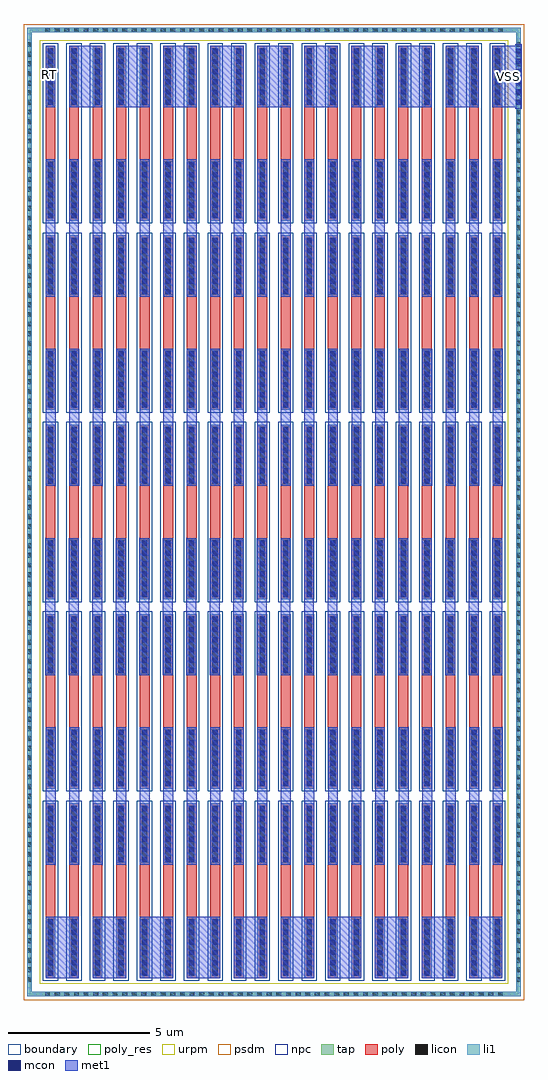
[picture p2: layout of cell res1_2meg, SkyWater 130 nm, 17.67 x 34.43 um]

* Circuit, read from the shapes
.subckt res1_2meg RT VSS
XR1 sky130_fd_pr__res_xhigh_po_0p35_2CUD6T_0/R1_0_0 sky130_fd_pr__res_xhigh_po_0p35_2CUD6T_0/R2_0_0 VSS sky130_fd_pr__res_xhigh_po w=0.35 l=1.88
XR2 sky130_fd_pr__res_xhigh_po_0p35_2CUD6T_0/R1_0_1 sky130_fd_pr__res_xhigh_po_0p35_2CUD6T_0/R1_0_0 VSS sky130_fd_pr__res_xhigh_po w=0.35 l=1.88
XR3 sky130_fd_pr__res_xhigh_po_0p35_2CUD6T_0/R1_0_2 sky130_fd_pr__res_xhigh_po_0p35_2CUD6T_0/R1_0_1 VSS sky130_fd_pr__res_xhigh_po w=0.35 l=1.88
XR4 sky130_fd_pr__res_xhigh_po_0p35_2CUD6T_0/R1_0_3 sky130_fd_pr__res_xhigh_po_0p35_2CUD6T_0/R1_0_2 VSS sky130_fd_pr__res_xhigh_po w=0.35 l=1.88
XR5 RT sky130_fd_pr__res_xhigh_po_0p35_2CUD6T_0/R1_0_3 VSS sky130_fd_pr__res_xhigh_po w=0.35 l=1.88
XR6 sky130_fd_pr__res_xhigh_po_0p35_2CUD6T_0/R1_1_0 sky130_fd_pr__res_xhigh_po_0p35_2CUD6T_0/R2_0_0 VSS sky130_fd_pr__res_xhigh_po w=0.35 l=1.88
XR7 sky130_fd_pr__res_xhigh_po_0p35_2CUD6T_0/R1_1_1 sky130_fd_pr__res_xhigh_po_0p35_2CUD6T_0/R1_1_0 VSS sky130_fd_pr__res_xhigh_po w=0.35 l=1.88
XR8 sky130_fd_pr__res_xhigh_po_0p35_2CUD6T_0/R1_1_2 sky130_fd_pr__res_xhigh_po_0p35_2CUD6T_0/R1_1_1 VSS sky130_fd_pr__res_xhigh_po w=0.35 l=1.88
XR9 sky130_fd_pr__res_xhigh_po_0p35_2CUD6T_0/R1_1_3 sky130_fd_pr__res_xhigh_po_0p35_2CUD6T_0/R1_1_2 VSS sky130_fd_pr__res_xhigh_po w=0.35 l=1.88
XR10 sky130_fd_pr__res_xhigh_po_0p35_2CUD6T_0/R1_1_4 sky130_fd_pr__res_xhigh_po_0p35_2CUD6T_0/R1_1_3 VSS sky130_fd_pr__res_xhigh_po w=0.35 l=1.88
XR11 sky130_fd_pr__res_xhigh_po_0p35_2CUD6T_0/R1_2_0 sky130_fd_pr__res_xhigh_po_0p35_2CUD6T_0/R2_2_0 VSS sky130_fd_pr__res_xhigh_po w=0.35 l=1.88
XR12 sky130_fd_pr__res_xhigh_po_0p35_2CUD6T_0/R1_2_1 sky130_fd_pr__res_xhigh_po_0p35_2CUD6T_0/R1_2_0 VSS sky130_fd_pr__res_xhigh_po w=0.35 l=1.88
XR13 sky130_fd_pr__res_xhigh_po_0p35_2CUD6T_0/R1_2_2 sky130_fd_pr__res_xhigh_po_0p35_2CUD6T_0/R1_2_1 VSS sky130_fd_pr__res_xhigh_po w=0.35 l=1.88
XR14 sky130_fd_pr__res_xhigh_po_0p35_2CUD6T_0/R1_2_3 sky130_fd_pr__res_xhigh_po_0p35_2CUD6T_0/R1_2_2 VSS sky130_fd_pr__res_xhigh_po w=0.35 l=1.88
XR15 sky130_fd_pr__res_xhigh_po_0p35_2CUD6T_0/R1_1_4 sky130_fd_pr__res_xhigh_po_0p35_2CUD6T_0/R1_2_3 VSS sky130_fd_pr__res_xhigh_po w=0.35 l=1.88
XR16 sky130_fd_pr__res_xhigh_po_0p35_2CUD6T_0/R1_3_0 sky130_fd_pr__res_xhigh_po_0p35_2CUD6T_0/R2_2_0 VSS sky130_fd_pr__res_xhigh_po w=0.35 l=1.88
XR17 sky130_fd_pr__res_xhigh_po_0p35_2CUD6T_0/R1_3_1 sky130_fd_pr__res_xhigh_po_0p35_2CUD6T_0/R1_3_0 VSS sky130_fd_pr__res_xhigh_po w=0.35 l=1.88
XR18 sky130_fd_pr__res_xhigh_po_0p35_2CUD6T_0/R1_3_2 sky130_fd_pr__res_xhigh_po_0p35_2CUD6T_0/R1_3_1 VSS sky130_fd_pr__res_xhigh_po w=0.35 l=1.88
XR19 sky130_fd_pr__res_xhigh_po_0p35_2CUD6T_0/R1_3_3 sky130_fd_pr__res_xhigh_po_0p35_2CUD6T_0/R1_3_2 VSS sky130_fd_pr__res_xhigh_po w=0.35 l=1.88
XR20 sky130_fd_pr__res_xhigh_po_0p35_2CUD6T_0/R1_3_4 sky130_fd_pr__res_xhigh_po_0p35_2CUD6T_0/R1_3_3 VSS sky130_fd_pr__res_xhigh_po w=0.35 l=1.88
XR21 sky130_fd_pr__res_xhigh_po_0p35_2CUD6T_0/R1_4_0 sky130_fd_pr__res_xhigh_po_0p35_2CUD6T_0/R2_4_0 VSS sky130_fd_pr__res_xhigh_po w=0.35 l=1.88
XR22 sky130_fd_pr__res_xhigh_po_0p35_2CUD6T_0/R1_4_1 sky130_fd_pr__res_xhigh_po_0p35_2CUD6T_0/R1_4_0 VSS sky130_fd_pr__res_xhigh_po w=0.35 l=1.88
XR23 sky130_fd_pr__res_xhigh_po_0p35_2CUD6T_0/R1_4_2 sky130_fd_pr__res_xhigh_po_0p35_2CUD6T_0/R1_4_1 VSS sky130_fd_pr__res_xhigh_po w=0.35 l=1.88
XR24 sky130_fd_pr__res_xhigh_po_0p35_2CUD6T_0/R1_4_3 sky130_fd_pr__res_xhigh_po_0p35_2CUD6T_0/R1_4_2 VSS sky130_fd_pr__res_xhigh_po w=0.35 l=1.88
XR25 sky130_fd_pr__res_xhigh_po_0p35_2CUD6T_0/R1_3_4 sky130_fd_pr__res_xhigh_po_0p35_2CUD6T_0/R1_4_3 VSS sky130_fd_pr__res_xhigh_po w=0.35 l=1.88
XR26 sky130_fd_pr__res_xhigh_po_0p35_2CUD6T_0/R1_5_0 sky130_fd_pr__res_xhigh_po_0p35_2CUD6T_0/R2_4_0 VSS sky130_fd_pr__res_xhigh_po w=0.35 l=1.88
XR27 sky130_fd_pr__res_xhigh_po_0p35_2CUD6T_0/R1_5_1 sky130_fd_pr__res_xhigh_po_0p35_2CUD6T_0/R1_5_0 VSS sky130_fd_pr__res_xhigh_po w=0.35 l=1.88
XR28 sky130_fd_pr__res_xhigh_po_0p35_2CUD6T_0/R1_5_2 sky130_fd_pr__res_xhigh_po_0p35_2CUD6T_0/R1_5_1 VSS sky130_fd_pr__res_xhigh_po w=0.35 l=1.88
XR29 sky130_fd_pr__res_xhigh_po_0p35_2CUD6T_0/R1_5_3 sky130_fd_pr__res_xhigh_po_0p35_2CUD6T_0/R1_5_2 VSS sky130_fd_pr__res_xhigh_po w=0.35 l=1.88
XR30 sky130_fd_pr__res_xhigh_po_0p35_2CUD6T_0/R1_5_4 sky130_fd_pr__res_xhigh_po_0p35_2CUD6T_0/R1_5_3 VSS sky130_fd_pr__res_xhigh_po w=0.35 l=1.88
XR31 sky130_fd_pr__res_xhigh_po_0p35_2CUD6T_0/R1_6_0 sky130_fd_pr__res_xhigh_po_0p35_2CUD6T_0/R2_6_0 VSS sky130_fd_pr__res_xhigh_po w=0.35 l=1.88
XR32 sky130_fd_pr__res_xhigh_po_0p35_2CUD6T_0/R1_6_1 sky130_fd_pr__res_xhigh_po_0p35_2CUD6T_0/R1_6_0 VSS sky130_fd_pr__res_xhigh_po w=0.35 l=1.88
XR33 sky130_fd_pr__res_xhigh_po_0p35_2CUD6T_0/R1_6_2 sky130_fd_pr__res_xhigh_po_0p35_2CUD6T_0/R1_6_1 VSS sky130_fd_pr__res_xhigh_po w=0.35 l=1.88
XR34 sky130_fd_pr__res_xhigh_po_0p35_2CUD6T_0/R1_6_3 sky130_fd_pr__res_xhigh_po_0p35_2CUD6T_0/R1_6_2 VSS sky130_fd_pr__res_xhigh_po w=0.35 l=1.88
XR35 sky130_fd_pr__res_xhigh_po_0p35_2CUD6T_0/R1_5_4 sky130_fd_pr__res_xhigh_po_0p35_2CUD6T_0/R1_6_3 VSS sky130_fd_pr__res_xhigh_po w=0.35 l=1.88
XR36 sky130_fd_pr__res_xhigh_po_0p35_2CUD6T_0/R1_7_0 sky130_fd_pr__res_xhigh_po_0p35_2CUD6T_0/R2_6_0 VSS sky130_fd_pr__res_xhigh_po w=0.35 l=1.88
XR37 sky130_fd_pr__res_xhigh_po_0p35_2CUD6T_0/R1_7_1 sky130_fd_pr__res_xhigh_po_0p35_2CUD6T_0/R1_7_0 VSS sky130_fd_pr__res_xhigh_po w=0.35 l=1.88
XR38 sky130_fd_pr__res_xhigh_po_0p35_2CUD6T_0/R1_7_2 sky130_fd_pr__res_xhigh_po_0p35_2CUD6T_0/R1_7_1 VSS sky130_fd_pr__res_xhigh_po w=0.35 l=1.88
XR39 sky130_fd_pr__res_xhigh_po_0p35_2CUD6T_0/R1_7_3 sky130_fd_pr__res_xhigh_po_0p35_2CUD6T_0/R1_7_2 VSS sky130_fd_pr__res_xhigh_po w=0.35 l=1.88
XR40 sky130_fd_pr__res_xhigh_po_0p35_2CUD6T_0/R1_7_4 sky130_fd_pr__res_xhigh_po_0p35_2CUD6T_0/R1_7_3 VSS sky130_fd_pr__res_xhigh_po w=0.35 l=1.88
XR41 sky130_fd_pr__res_xhigh_po_0p35_2CUD6T_0/R1_8_0 sky130_fd_pr__res_xhigh_po_0p35_2CUD6T_0/R2_8_0 VSS sky130_fd_pr__res_xhigh_po w=0.35 l=1.88
XR42 sky130_fd_pr__res_xhigh_po_0p35_2CUD6T_0/R1_8_1 sky130_fd_pr__res_xhigh_po_0p35_2CUD6T_0/R1_8_0 VSS sky130_fd_pr__res_xhigh_po w=0.35 l=1.88
XR43 sky130_fd_pr__res_xhigh_po_0p35_2CUD6T_0/R1_8_2 sky130_fd_pr__res_xhigh_po_0p35_2CUD6T_0/R1_8_1 VSS sky130_fd_pr__res_xhigh_po w=0.35 l=1.88
XR44 sky130_fd_pr__res_xhigh_po_0p35_2CUD6T_0/R1_8_3 sky130_fd_pr__res_xhigh_po_0p35_2CUD6T_0/R1_8_2 VSS sky130_fd_pr__res_xhigh_po w=0.35 l=1.88
XR45 sky130_fd_pr__res_xhigh_po_0p35_2CUD6T_0/R1_7_4 sky130_fd_pr__res_xhigh_po_0p35_2CUD6T_0/R1_8_3 VSS sky130_fd_pr__res_xhigh_po w=0.35 l=1.88
XR46 sky130_fd_pr__res_xhigh_po_0p35_2CUD6T_0/R1_9_0 sky130_fd_pr__res_xhigh_po_0p35_2CUD6T_0/R2_8_0 VSS sky130_fd_pr__res_xhigh_po w=0.35 l=1.88
XR47 sky130_fd_pr__res_xhigh_po_0p35_2CUD6T_0/R1_9_1 sky130_fd_pr__res_xhigh_po_0p35_2CUD6T_0/R1_9_0 VSS sky130_fd_pr__res_xhigh_po w=0.35 l=1.88
XR48 sky130_fd_pr__res_xhigh_po_0p35_2CUD6T_0/R1_9_2 sky130_fd_pr__res_xhigh_po_0p35_2CUD6T_0/R1_9_1 VSS sky130_fd_pr__res_xhigh_po w=0.35 l=1.88
XR49 sky130_fd_pr__res_xhigh_po_0p35_2CUD6T_0/R1_9_3 sky130_fd_pr__res_xhigh_po_0p35_2CUD6T_0/R1_9_2 VSS sky130_fd_pr__res_xhigh_po w=0.35 l=1.88
XR50 sky130_fd_pr__res_xhigh_po_0p35_2CUD6T_0/R1_10_4 sky130_fd_pr__res_xhigh_po_0p35_2CUD6T_0/R1_9_3 VSS sky130_fd_pr__res_xhigh_po w=0.35 l=1.88
XR51 sky130_fd_pr__res_xhigh_po_0p35_2CUD6T_0/R1_10_0 sky130_fd_pr__res_xhigh_po_0p35_2CUD6T_0/R2_10_0 VSS sky130_fd_pr__res_xhigh_po w=0.35 l=1.88
XR52 sky130_fd_pr__res_xhigh_po_0p35_2CUD6T_0/R1_10_1 sky130_fd_pr__res_xhigh_po_0p35_2CUD6T_0/R1_10_0 VSS sky130_fd_pr__res_xhigh_po w=0.35 l=1.88
XR53 sky130_fd_pr__res_xhigh_po_0p35_2CUD6T_0/R1_10_2 sky130_fd_pr__res_xhigh_po_0p35_2CUD6T_0/R1_10_1 VSS sky130_fd_pr__res_xhigh_po w=0.35 l=1.88
XR54 sky130_fd_pr__res_xhigh_po_0p35_2CUD6T_0/R1_10_3 sky130_fd_pr__res_xhigh_po_0p35_2CUD6T_0/R1_10_2 VSS sky130_fd_pr__res_xhigh_po w=0.35 l=1.88
XR55 sky130_fd_pr__res_xhigh_po_0p35_2CUD6T_0/R1_10_4 sky130_fd_pr__res_xhigh_po_0p35_2CUD6T_0/R1_10_3 VSS sky130_fd_pr__res_xhigh_po w=0.35 l=1.88
XR56 sky130_fd_pr__res_xhigh_po_0p35_2CUD6T_0/R1_11_0 sky130_fd_pr__res_xhigh_po_0p35_2CUD6T_0/R2_10_0 VSS sky130_fd_pr__res_xhigh_po w=0.35 l=1.88
XR57 sky130_fd_pr__res_xhigh_po_0p35_2CUD6T_0/R1_11_1 sky130_fd_pr__res_xhigh_po_0p35_2CUD6T_0/R1_11_0 VSS sky130_fd_pr__res_xhigh_po w=0.35 l=1.88
XR58 sky130_fd_pr__res_xhigh_po_0p35_2CUD6T_0/R1_11_2 sky130_fd_pr__res_xhigh_po_0p35_2CUD6T_0/R1_11_1 VSS sky130_fd_pr__res_xhigh_po w=0.35 l=1.88
XR59 sky130_fd_pr__res_xhigh_po_0p35_2CUD6T_0/R1_11_3 sky130_fd_pr__res_xhigh_po_0p35_2CUD6T_0/R1_11_2 VSS sky130_fd_pr__res_xhigh_po w=0.35 l=1.88
XR60 sky130_fd_pr__res_xhigh_po_0p35_2CUD6T_0/R1_11_4 sky130_fd_pr__res_xhigh_po_0p35_2CUD6T_0/R1_11_3 VSS sky130_fd_pr__res_xhigh_po w=0.35 l=1.88
XR61 sky130_fd_pr__res_xhigh_po_0p35_2CUD6T_0/R1_12_0 sky130_fd_pr__res_xhigh_po_0p35_2CUD6T_0/R2_12_0 VSS sky130_fd_pr__res_xhigh_po w=0.35 l=1.88
XR62 sky130_fd_pr__res_xhigh_po_0p35_2CUD6T_0/R1_12_1 sky130_fd_pr__res_xhigh_po_0p35_2CUD6T_0/R1_12_0 VSS sky130_fd_pr__res_xhigh_po w=0.35 l=1.88
XR63 sky130_fd_pr__res_xhigh_po_0p35_2CUD6T_0/R1_12_2 sky130_fd_pr__res_xhigh_po_0p35_2CUD6T_0/R1_12_1 VSS sky130_fd_pr__res_xhigh_po w=0.35 l=1.88
XR64 sky130_fd_pr__res_xhigh_po_0p35_2CUD6T_0/R1_12_3 sky130_fd_pr__res_xhigh_po_0p35_2CUD6T_0/R1_12_2 VSS sky130_fd_pr__res_xhigh_po w=0.35 l=1.88
XR65 sky130_fd_pr__res_xhigh_po_0p35_2CUD6T_0/R1_11_4 sky130_fd_pr__res_xhigh_po_0p35_2CUD6T_0/R1_12_3 VSS sky130_fd_pr__res_xhigh_po w=0.35 l=1.88
XR66 sky130_fd_pr__res_xhigh_po_0p35_2CUD6T_0/R1_13_0 sky130_fd_pr__res_xhigh_po_0p35_2CUD6T_0/R2_12_0 VSS sky130_fd_pr__res_xhigh_po w=0.35 l=1.88
XR67 sky130_fd_pr__res_xhigh_po_0p35_2CUD6T_0/R1_13_1 sky130_fd_pr__res_xhigh_po_0p35_2CUD6T_0/R1_13_0 VSS sky130_fd_pr__res_xhigh_po w=0.35 l=1.88
XR68 sky130_fd_pr__res_xhigh_po_0p35_2CUD6T_0/R1_13_2 sky130_fd_pr__res_xhigh_po_0p35_2CUD6T_0/R1_13_1 VSS sky130_fd_pr__res_xhigh_po w=0.35 l=1.88
XR69 sky130_fd_pr__res_xhigh_po_0p35_2CUD6T_0/R1_13_3 sky130_fd_pr__res_xhigh_po_0p35_2CUD6T_0/R1_13_2 VSS sky130_fd_pr__res_xhigh_po w=0.35 l=1.88
XR70 sky130_fd_pr__res_xhigh_po_0p35_2CUD6T_0/R1_13_4 sky130_fd_pr__res_xhigh_po_0p35_2CUD6T_0/R1_13_3 VSS sky130_fd_pr__res_xhigh_po w=0.35 l=1.88
XR71 sky130_fd_pr__res_xhigh_po_0p35_2CUD6T_0/R1_14_0 sky130_fd_pr__res_xhigh_po_0p35_2CUD6T_0/R2_14_0 VSS sky130_fd_pr__res_xhigh_po w=0.35 l=1.88
XR72 sky130_fd_pr__res_xhigh_po_0p35_2CUD6T_0/R1_14_1 sky130_fd_pr__res_xhigh_po_0p35_2CUD6T_0/R1_14_0 VSS sky130_fd_pr__res_xhigh_po w=0.35 l=1.88
XR73 sky130_fd_pr__res_xhigh_po_0p35_2CUD6T_0/R1_14_2 sky130_fd_pr__res_xhigh_po_0p35_2CUD6T_0/R1_14_1 VSS sky130_fd_pr__res_xhigh_po w=0.35 l=1.88
XR74 sky130_fd_pr__res_xhigh_po_0p35_2CUD6T_0/R1_14_3 sky130_fd_pr__res_xhigh_po_0p35_2CUD6T_0/R1_14_2 VSS sky130_fd_pr__res_xhigh_po w=0.35 l=1.88
XR75 sky130_fd_pr__res_xhigh_po_0p35_2CUD6T_0/R1_13_4 sky130_fd_pr__res_xhigh_po_0p35_2CUD6T_0/R1_14_3 VSS sky130_fd_pr__res_xhigh_po w=0.35 l=1.88
XR76 sky130_fd_pr__res_xhigh_po_0p35_2CUD6T_0/R1_15_0 sky130_fd_pr__res_xhigh_po_0p35_2CUD6T_0/R2_14_0 VSS sky130_fd_pr__res_xhigh_po w=0.35 l=1.88
XR77 sky130_fd_pr__res_xhigh_po_0p35_2CUD6T_0/R1_15_1 sky130_fd_pr__res_xhigh_po_0p35_2CUD6T_0/R1_15_0 VSS sky130_fd_pr__res_xhigh_po w=0.35 l=1.88
XR78 sky130_fd_pr__res_xhigh_po_0p35_2CUD6T_0/R1_15_2 sky130_fd_pr__res_xhigh_po_0p35_2CUD6T_0/R1_15_1 VSS sky130_fd_pr__res_xhigh_po w=0.35 l=1.88
XR79 sky130_fd_pr__res_xhigh_po_0p35_2CUD6T_0/R1_15_3 sky130_fd_pr__res_xhigh_po_0p35_2CUD6T_0/R1_15_2 VSS sky130_fd_pr__res_xhigh_po w=0.35 l=1.88
XR80 sky130_fd_pr__res_xhigh_po_0p35_2CUD6T_0/R1_15_4 sky130_fd_pr__res_xhigh_po_0p35_2CUD6T_0/R1_15_3 VSS sky130_fd_pr__res_xhigh_po w=0.35 l=1.88
XR81 sky130_fd_pr__res_xhigh_po_0p35_2CUD6T_0/R1_16_0 sky130_fd_pr__res_xhigh_po_0p35_2CUD6T_0/R2_16_0 VSS sky130_fd_pr__res_xhigh_po w=0.35 l=1.88
XR82 sky130_fd_pr__res_xhigh_po_0p35_2CUD6T_0/R1_16_1 sky130_fd_pr__res_xhigh_po_0p35_2CUD6T_0/R1_16_0 VSS sky130_fd_pr__res_xhigh_po w=0.35 l=1.88
XR83 sky130_fd_pr__res_xhigh_po_0p35_2CUD6T_0/R1_16_2 sky130_fd_pr__res_xhigh_po_0p35_2CUD6T_0/R1_16_1 VSS sky130_fd_pr__res_xhigh_po w=0.35 l=1.88
XR84 sky130_fd_pr__res_xhigh_po_0p35_2CUD6T_0/R1_16_3 sky130_fd_pr__res_xhigh_po_0p35_2CUD6T_0/R1_16_2 VSS sky130_fd_pr__res_xhigh_po w=0.35 l=1.88
XR85 sky130_fd_pr__res_xhigh_po_0p35_2CUD6T_0/R1_15_4 sky130_fd_pr__res_xhigh_po_0p35_2CUD6T_0/R1_16_3 VSS sky130_fd_pr__res_xhigh_po w=0.35 l=1.88
XR86 sky130_fd_pr__res_xhigh_po_0p35_2CUD6T_0/R1_17_0 sky130_fd_pr__res_xhigh_po_0p35_2CUD6T_0/R2_16_0 VSS sky130_fd_pr__res_xhigh_po w=0.35 l=1.88
XR87 sky130_fd_pr__res_xhigh_po_0p35_2CUD6T_0/R1_17_1 sky130_fd_pr__res_xhigh_po_0p35_2CUD6T_0/R1_17_0 VSS sky130_fd_pr__res_xhigh_po w=0.35 l=1.88
XR88 sky130_fd_pr__res_xhigh_po_0p35_2CUD6T_0/R1_17_2 sky130_fd_pr__res_xhigh_po_0p35_2CUD6T_0/R1_17_1 VSS sky130_fd_pr__res_xhigh_po w=0.35 l=1.88
XR89 sky130_fd_pr__res_xhigh_po_0p35_2CUD6T_0/R1_17_3 sky130_fd_pr__res_xhigh_po_0p35_2CUD6T_0/R1_17_2 VSS sky130_fd_pr__res_xhigh_po w=0.35 l=1.88
XR90 sky130_fd_pr__res_xhigh_po_0p35_2CUD6T_0/R1_17_4 sky130_fd_pr__res_xhigh_po_0p35_2CUD6T_0/R1_17_3 VSS sky130_fd_pr__res_xhigh_po w=0.35 l=1.88
XR91 sky130_fd_pr__res_xhigh_po_0p35_2CUD6T_0/R1_18_0 sky130_fd_pr__res_xhigh_po_0p35_2CUD6T_0/R2_18_0 VSS sky130_fd_pr__res_xhigh_po w=0.35 l=1.88
XR92 sky130_fd_pr__res_xhigh_po_0p35_2CUD6T_0/R1_18_1 sky130_fd_pr__res_xhigh_po_0p35_2CUD6T_0/R1_18_0 VSS sky130_fd_pr__res_xhigh_po w=0.35 l=1.88
XR93 sky130_fd_pr__res_xhigh_po_0p35_2CUD6T_0/R1_18_2 sky130_fd_pr__res_xhigh_po_0p35_2CUD6T_0/R1_18_1 VSS sky130_fd_pr__res_xhigh_po w=0.35 l=1.88
XR94 sky130_fd_pr__res_xhigh_po_0p35_2CUD6T_0/R1_18_3 sky130_fd_pr__res_xhigh_po_0p35_2CUD6T_0/R1_18_2 VSS sky130_fd_pr__res_xhigh_po w=0.35 l=1.88
XR95 sky130_fd_pr__res_xhigh_po_0p35_2CUD6T_0/R1_17_4 sky130_fd_pr__res_xhigh_po_0p35_2CUD6T_0/R1_18_3 VSS sky130_fd_pr__res_xhigh_po w=0.35 l=1.88
XR96 sky130_fd_pr__res_xhigh_po_0p35_2CUD6T_0/R1_19_0 sky130_fd_pr__res_xhigh_po_0p35_2CUD6T_0/R2_18_0 VSS sky130_fd_pr__res_xhigh_po w=0.35 l=1.88
XR97 sky130_fd_pr__res_xhigh_po_0p35_2CUD6T_0/R1_19_1 sky130_fd_pr__res_xhigh_po_0p35_2CUD6T_0/R1_19_0 VSS sky130_fd_pr__res_xhigh_po w=0.35 l=1.88
XR98 sky130_fd_pr__res_xhigh_po_0p35_2CUD6T_0/R1_19_2 sky130_fd_pr__res_xhigh_po_0p35_2CUD6T_0/R1_19_1 VSS sky130_fd_pr__res_xhigh_po w=0.35 l=1.88
XR99 sky130_fd_pr__res_xhigh_po_0p35_2CUD6T_0/R1_19_3 sky130_fd_pr__res_xhigh_po_0p35_2CUD6T_0/R1_19_2 VSS sky130_fd_pr__res_xhigh_po w=0.35 l=1.88
XR100 VSS sky130_fd_pr__res_xhigh_po_0p35_2CUD6T_0/R1_19_3 VSS sky130_fd_pr__res_xhigh_po w=0.35 l=1.88
.ends

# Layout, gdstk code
import gdstk
lib = gdstk.Library(unit=1e-6, precision=1e-09)
def R(c, l, rs):  # rectangles x0, y0, x1, y1
    for r in rs: c.add(gdstk.rectangle(r[:2], r[2:], *l))
def A(c, l, x, y, w, h, nx, ny, dx, dy):  # array of equal rectangles
    R(c, l, [(x+i*dx, y+j*dy, x+i*dx+w, y+j*dy+h) for i in range(nx) for j in range(ny)])
tap = (65, 44)
poly_res = (66, 13)
poly = (66, 20)
licon = (66, 44)
li1 = (67, 20)
mcon = (67, 44)
met1 = (68, 20)
urpm = (79, 20)
psdm = (94, 20)
npc = (95, 20)
boundary = (235, 4)

sky130_fd_pr__res_xhigh_ = lib.new_cell('sky130_fd_pr__res_xhigh_po_0p35_2CUD6T')
R(sky130_fd_pr__res_xhigh_, tap, [(-8.71,-17.09,8.71,-16.92), (-8.71,-16.92,-8.54,16.92), (8.54,-16.92,8.71,16.92), (-8.71,16.92,8.71,17.09)])
A(sky130_fd_pr__res_xhigh_, poly_res, -8.06, -14.36, 0.35, 2, 20, 5, 0.83, 6.68)
A(sky130_fd_pr__res_xhigh_, poly, -8.06, -16.44, 0.35, 6.16, 20, 5, 0.83, 6.68)
A(sky130_fd_pr__res_xhigh_, licon, -8.075, -17.09, 0.17, 0.17, 48, 2, 0.34, 34.01)
A(sky130_fd_pr__res_xhigh_, licon, -8.71, -16.575, 0.17, 0.17, 1, 98, 0, 0.34)
A(sky130_fd_pr__res_xhigh_, licon, 8.54, -16.575, 0.17, 0.17, 1, 98, 0, 0.34)
A(sky130_fd_pr__res_xhigh_, licon, -7.98, -16.36, 0.19, 2, 20, 2, 0.83, 4)
A(sky130_fd_pr__res_xhigh_, licon, -7.98, -9.68, 0.19, 2, 20, 2, 0.83, 4)
A(sky130_fd_pr__res_xhigh_, licon, -7.98, -3, 0.19, 2, 20, 2, 0.83, 4)
A(sky130_fd_pr__res_xhigh_, licon, -7.98, 3.68, 0.19, 2, 20, 2, 0.83, 4)
A(sky130_fd_pr__res_xhigh_, licon, -7.98, 10.36, 0.19, 2, 20, 2, 0.83, 4)
A(sky130_fd_pr__res_xhigh_, li1, -8.06, -16.44, 0.35, 2.16, 20, 2, 0.83, 4)
A(sky130_fd_pr__res_xhigh_, li1, -8.06, -9.76, 0.35, 2.16, 20, 2, 0.83, 4)
A(sky130_fd_pr__res_xhigh_, li1, -8.06, -3.08, 0.35, 2.16, 20, 2, 0.83, 4)
A(sky130_fd_pr__res_xhigh_, li1, -8.06, 3.6, 0.35, 2.16, 20, 2, 0.83, 4)
A(sky130_fd_pr__res_xhigh_, li1, -8.06, 10.28, 0.35, 2.16, 20, 2, 0.83, 4)
R(sky130_fd_pr__res_xhigh_, li1, [(-8.71,-17.09,8.71,-16.92), (-8.71,-16.92,-8.54,16.92), (8.54,-16.92,8.71,16.92), (-8.71,16.92,8.71,17.09)])
A(sky130_fd_pr__res_xhigh_, mcon, -7.97, -16.345, 0.17, 0.17, 20, 6, 0.83, 0.36)
A(sky130_fd_pr__res_xhigh_, mcon, -7.97, -12.35, 0.17, 0.17, 20, 6, 0.83, 0.36)
A(sky130_fd_pr__res_xhigh_, mcon, -7.97, -9.665, 0.17, 0.17, 20, 6, 0.83, 0.36)
A(sky130_fd_pr__res_xhigh_, mcon, -7.97, -5.67, 0.17, 0.17, 20, 6, 0.83, 0.36)
A(sky130_fd_pr__res_xhigh_, mcon, -7.97, -2.985, 0.17, 0.17, 20, 6, 0.83, 0.36)
A(sky130_fd_pr__res_xhigh_, mcon, -7.97, 1.01, 0.17, 0.17, 20, 6, 0.83, 0.36)
A(sky130_fd_pr__res_xhigh_, mcon, -7.97, 3.695, 0.17, 0.17, 20, 6, 0.83, 0.36)
A(sky130_fd_pr__res_xhigh_, mcon, -7.97, 7.69, 0.17, 0.17, 20, 6, 0.83, 0.36)
A(sky130_fd_pr__res_xhigh_, mcon, -7.97, 10.375, 0.17, 0.17, 20, 6, 0.83, 0.36)
A(sky130_fd_pr__res_xhigh_, mcon, -7.97, 14.37, 0.17, 0.17, 20, 6, 0.83, 0.36)
A(sky130_fd_pr__res_xhigh_, met1, -8.01, -16.41, 0.25, 2.105, 20, 2, 0.83, 3.995)
A(sky130_fd_pr__res_xhigh_, met1, -8.01, -9.73, 0.25, 2.105, 20, 2, 0.83, 3.995)
A(sky130_fd_pr__res_xhigh_, met1, -8.01, -3.05, 0.25, 2.105, 20, 2, 0.83, 3.995)
A(sky130_fd_pr__res_xhigh_, met1, -8.01, 3.63, 0.25, 2.105, 20, 2, 0.83, 3.995)
A(sky130_fd_pr__res_xhigh_, met1, -8.01, 10.31, 0.25, 2.105, 20, 2, 0.83, 3.995)
R(sky130_fd_pr__res_xhigh_, urpm, [(-8.26,-16.64,8.26,16.64)])
R(sky130_fd_pr__res_xhigh_, psdm, [(-8.835,-17.215,8.835,17.215)])
A(sky130_fd_pr__res_xhigh_, npc, -8.155, -16.535, 0.54, 6.35, 20, 5, 0.83, 6.68)
R(sky130_fd_pr__res_xhigh_, boundary, [(-8.625,-17.005,8.625,17.005)])
sky130_fd_pr__res_xhigh_.add(gdstk.Label('B', (0,-17.005), layer=67, texttype=5))
sky130_fd_pr__res_xhigh_.add(gdstk.Label('R1_0_0', (-7.885,-10.455), layer=67, texttype=5))
sky130_fd_pr__res_xhigh_.add(gdstk.Label('R2_0_0', (-7.885,-16.265), layer=67, texttype=5))
sky130_fd_pr__res_xhigh_.add(gdstk.Label('R1_0_1', (-7.885,-3.775), layer=67, texttype=5))
sky130_fd_pr__res_xhigh_.add(gdstk.Label('R2_0_1', (-7.885,-9.585), layer=67, texttype=5))
sky130_fd_pr__res_xhigh_.add(gdstk.Label('R1_0_2', (-7.885,2.905), layer=67, texttype=5))
sky130_fd_pr__res_xhigh_.add(gdstk.Label('R2_0_2', (-7.885,-2.905), layer=67, texttype=5))
sky130_fd_pr__res_xhigh_.add(gdstk.Label('R1_0_3', (-7.885,9.585), layer=67, texttype=5))
sky130_fd_pr__res_xhigh_.add(gdstk.Label('R2_0_3', (-7.885,3.775), layer=67, texttype=5))
sky130_fd_pr__res_xhigh_.add(gdstk.Label('R1_0_4', (-7.885,16.265), layer=67, texttype=5))
sky130_fd_pr__res_xhigh_.add(gdstk.Label('R2_0_4', (-7.885,10.455), layer=67, texttype=5))
sky130_fd_pr__res_xhigh_.add(gdstk.Label('R1_1_0', (-7.055,-10.455), layer=67, texttype=5))
sky130_fd_pr__res_xhigh_.add(gdstk.Label('R2_1_0', (-7.055,-16.265), layer=67, texttype=5))
sky130_fd_pr__res_xhigh_.add(gdstk.Label('R1_1_1', (-7.055,-3.775), layer=67, texttype=5))
sky130_fd_pr__res_xhigh_.add(gdstk.Label('R2_1_1', (-7.055,-9.585), layer=67, texttype=5))
sky130_fd_pr__res_xhigh_.add(gdstk.Label('R1_1_2', (-7.055,2.905), layer=67, texttype=5))
sky130_fd_pr__res_xhigh_.add(gdstk.Label('R2_1_2', (-7.055,-2.905), layer=67, texttype=5))
sky130_fd_pr__res_xhigh_.add(gdstk.Label('R1_1_3', (-7.055,9.585), layer=67, texttype=5))
sky130_fd_pr__res_xhigh_.add(gdstk.Label('R2_1_3', (-7.055,3.775), layer=67, texttype=5))
sky130_fd_pr__res_xhigh_.add(gdstk.Label('R1_1_4', (-7.055,16.265), layer=67, texttype=5))
sky130_fd_pr__res_xhigh_.add(gdstk.Label('R2_1_4', (-7.055,10.455), layer=67, texttype=5))
sky130_fd_pr__res_xhigh_.add(gdstk.Label('R1_2_0', (-6.225,-10.455), layer=67, texttype=5))
sky130_fd_pr__res_xhigh_.add(gdstk.Label('R2_2_0', (-6.225,-16.265), layer=67, texttype=5))
sky130_fd_pr__res_xhigh_.add(gdstk.Label('R1_2_1', (-6.225,-3.775), layer=67, texttype=5))
sky130_fd_pr__res_xhigh_.add(gdstk.Label('R2_2_1', (-6.225,-9.585), layer=67, texttype=5))
sky130_fd_pr__res_xhigh_.add(gdstk.Label('R1_2_2', (-6.225,2.905), layer=67, texttype=5))
sky130_fd_pr__res_xhigh_.add(gdstk.Label('R2_2_2', (-6.225,-2.905), layer=67, texttype=5))
sky130_fd_pr__res_xhigh_.add(gdstk.Label('R1_2_3', (-6.225,9.585), layer=67, texttype=5))
sky130_fd_pr__res_xhigh_.add(gdstk.Label('R2_2_3', (-6.225,3.775), layer=67, texttype=5))
sky130_fd_pr__res_xhigh_.add(gdstk.Label('R1_2_4', (-6.225,16.265), layer=67, texttype=5))
sky130_fd_pr__res_xhigh_.add(gdstk.Label('R2_2_4', (-6.225,10.455), layer=67, texttype=5))
sky130_fd_pr__res_xhigh_.add(gdstk.Label('R1_3_0', (-5.395,-10.455), layer=67, texttype=5))
sky130_fd_pr__res_xhigh_.add(gdstk.Label('R2_3_0', (-5.395,-16.265), layer=67, texttype=5))
sky130_fd_pr__res_xhigh_.add(gdstk.Label('R1_3_1', (-5.395,-3.775), layer=67, texttype=5))
sky130_fd_pr__res_xhigh_.add(gdstk.Label('R2_3_1', (-5.395,-9.585), layer=67, texttype=5))
sky130_fd_pr__res_xhigh_.add(gdstk.Label('R1_3_2', (-5.395,2.905), layer=67, texttype=5))
sky130_fd_pr__res_xhigh_.add(gdstk.Label('R2_3_2', (-5.395,-2.905), layer=67, texttype=5))
sky130_fd_pr__res_xhigh_.add(gdstk.Label('R1_3_3', (-5.395,9.585), layer=67, texttype=5))
sky130_fd_pr__res_xhigh_.add(gdstk.Label('R2_3_3', (-5.395,3.775), layer=67, texttype=5))
sky130_fd_pr__res_xhigh_.add(gdstk.Label('R1_3_4', (-5.395,16.265), layer=67, texttype=5))
sky130_fd_pr__res_xhigh_.add(gdstk.Label('R2_3_4', (-5.395,10.455), layer=67, texttype=5))
sky130_fd_pr__res_xhigh_.add(gdstk.Label('R1_4_0', (-4.565,-10.455), layer=67, texttype=5))
sky130_fd_pr__res_xhigh_.add(gdstk.Label('R2_4_0', (-4.565,-16.265), layer=67, texttype=5))
sky130_fd_pr__res_xhigh_.add(gdstk.Label('R1_4_1', (-4.565,-3.775), layer=67, texttype=5))
sky130_fd_pr__res_xhigh_.add(gdstk.Label('R2_4_1', (-4.565,-9.585), layer=67, texttype=5))
sky130_fd_pr__res_xhigh_.add(gdstk.Label('R1_4_2', (-4.565,2.905), layer=67, texttype=5))
sky130_fd_pr__res_xhigh_.add(gdstk.Label('R2_4_2', (-4.565,-2.905), layer=67, texttype=5))
sky130_fd_pr__res_xhigh_.add(gdstk.Label('R1_4_3', (-4.565,9.585), layer=67, texttype=5))
sky130_fd_pr__res_xhigh_.add(gdstk.Label('R2_4_3', (-4.565,3.775), layer=67, texttype=5))
sky130_fd_pr__res_xhigh_.add(gdstk.Label('R1_4_4', (-4.565,16.265), layer=67, texttype=5))
sky130_fd_pr__res_xhigh_.add(gdstk.Label('R2_4_4', (-4.565,10.455), layer=67, texttype=5))
sky130_fd_pr__res_xhigh_.add(gdstk.Label('R1_5_0', (-3.735,-10.455), layer=67, texttype=5))
sky130_fd_pr__res_xhigh_.add(gdstk.Label('R2_5_0', (-3.735,-16.265), layer=67, texttype=5))
sky130_fd_pr__res_xhigh_.add(gdstk.Label('R1_5_1', (-3.735,-3.775), layer=67, texttype=5))
sky130_fd_pr__res_xhigh_.add(gdstk.Label('R2_5_1', (-3.735,-9.585), layer=67, texttype=5))
sky130_fd_pr__res_xhigh_.add(gdstk.Label('R1_5_2', (-3.735,2.905), layer=67, texttype=5))
sky130_fd_pr__res_xhigh_.add(gdstk.Label('R2_5_2', (-3.735,-2.905), layer=67, texttype=5))
sky130_fd_pr__res_xhigh_.add(gdstk.Label('R1_5_3', (-3.735,9.585), layer=67, texttype=5))
sky130_fd_pr__res_xhigh_.add(gdstk.Label('R2_5_3', (-3.735,3.775), layer=67, texttype=5))
sky130_fd_pr__res_xhigh_.add(gdstk.Label('R1_5_4', (-3.735,16.265), layer=67, texttype=5))
sky130_fd_pr__res_xhigh_.add(gdstk.Label('R2_5_4', (-3.735,10.455), layer=67, texttype=5))
sky130_fd_pr__res_xhigh_.add(gdstk.Label('R1_6_0', (-2.905,-10.455), layer=67, texttype=5))
sky130_fd_pr__res_xhigh_.add(gdstk.Label('R2_6_0', (-2.905,-16.265), layer=67, texttype=5))
sky130_fd_pr__res_xhigh_.add(gdstk.Label('R1_6_1', (-2.905,-3.775), layer=67, texttype=5))
sky130_fd_pr__res_xhigh_.add(gdstk.Label('R2_6_1', (-2.905,-9.585), layer=67, texttype=5))
sky130_fd_pr__res_xhigh_.add(gdstk.Label('R1_6_2', (-2.905,2.905), layer=67, texttype=5))
sky130_fd_pr__res_xhigh_.add(gdstk.Label('R2_6_2', (-2.905,-2.905), layer=67, texttype=5))
sky130_fd_pr__res_xhigh_.add(gdstk.Label('R1_6_3', (-2.905,9.585), layer=67, texttype=5))
sky130_fd_pr__res_xhigh_.add(gdstk.Label('R2_6_3', (-2.905,3.775), layer=67, texttype=5))
sky130_fd_pr__res_xhigh_.add(gdstk.Label('R1_6_4', (-2.905,16.265), layer=67, texttype=5))
sky130_fd_pr__res_xhigh_.add(gdstk.Label('R2_6_4', (-2.905,10.455), layer=67, texttype=5))
sky130_fd_pr__res_xhigh_.add(gdstk.Label('R1_7_0', (-2.075,-10.455), layer=67, texttype=5))
sky130_fd_pr__res_xhigh_.add(gdstk.Label('R2_7_0', (-2.075,-16.265), layer=67, texttype=5))
sky130_fd_pr__res_xhigh_.add(gdstk.Label('R1_7_1', (-2.075,-3.775), layer=67, texttype=5))
sky130_fd_pr__res_xhigh_.add(gdstk.Label('R2_7_1', (-2.075,-9.585), layer=67, texttype=5))
sky130_fd_pr__res_xhigh_.add(gdstk.Label('R1_7_2', (-2.075,2.905), layer=67, texttype=5))
sky130_fd_pr__res_xhigh_.add(gdstk.Label('R2_7_2', (-2.075,-2.905), layer=67, texttype=5))
sky130_fd_pr__res_xhigh_.add(gdstk.Label('R1_7_3', (-2.075,9.585), layer=67, texttype=5))
sky130_fd_pr__res_xhigh_.add(gdstk.Label('R2_7_3', (-2.075,3.775), layer=67, texttype=5))
sky130_fd_pr__res_xhigh_.add(gdstk.Label('R1_7_4', (-2.075,16.265), layer=67, texttype=5))
sky130_fd_pr__res_xhigh_.add(gdstk.Label('R2_7_4', (-2.075,10.455), layer=67, texttype=5))
sky130_fd_pr__res_xhigh_.add(gdstk.Label('R1_8_0', (-1.245,-10.455), layer=67, texttype=5))
sky130_fd_pr__res_xhigh_.add(gdstk.Label('R2_8_0', (-1.245,-16.265), layer=67, texttype=5))
sky130_fd_pr__res_xhigh_.add(gdstk.Label('R1_8_1', (-1.245,-3.775), layer=67, texttype=5))
sky130_fd_pr__res_xhigh_.add(gdstk.Label('R2_8_1', (-1.245,-9.585), layer=67, texttype=5))
sky130_fd_pr__res_xhigh_.add(gdstk.Label('R1_8_2', (-1.245,2.905), layer=67, texttype=5))
sky130_fd_pr__res_xhigh_.add(gdstk.Label('R2_8_2', (-1.245,-2.905), layer=67, texttype=5))
sky130_fd_pr__res_xhigh_.add(gdstk.Label('R1_8_3', (-1.245,9.585), layer=67, texttype=5))
sky130_fd_pr__res_xhigh_.add(gdstk.Label('R2_8_3', (-1.245,3.775), layer=67, texttype=5))
sky130_fd_pr__res_xhigh_.add(gdstk.Label('R1_8_4', (-1.245,16.265), layer=67, texttype=5))
sky130_fd_pr__res_xhigh_.add(gdstk.Label('R2_8_4', (-1.245,10.455), layer=67, texttype=5))
sky130_fd_pr__res_xhigh_.add(gdstk.Label('R1_9_0', (-0.415,-10.455), layer=67, texttype=5))
sky130_fd_pr__res_xhigh_.add(gdstk.Label('R2_9_0', (-0.415,-16.265), layer=67, texttype=5))
sky130_fd_pr__res_xhigh_.add(gdstk.Label('R1_9_1', (-0.415,-3.775), layer=67, texttype=5))
sky130_fd_pr__res_xhigh_.add(gdstk.Label('R2_9_1', (-0.415,-9.585), layer=67, texttype=5))
sky130_fd_pr__res_xhigh_.add(gdstk.Label('R1_9_2', (-0.415,2.905), layer=67, texttype=5))
sky130_fd_pr__res_xhigh_.add(gdstk.Label('R2_9_2', (-0.415,-2.905), layer=67, texttype=5))
sky130_fd_pr__res_xhigh_.add(gdstk.Label('R1_9_3', (-0.415,9.585), layer=67, texttype=5))
sky130_fd_pr__res_xhigh_.add(gdstk.Label('R2_9_3', (-0.415,3.775), layer=67, texttype=5))
sky130_fd_pr__res_xhigh_.add(gdstk.Label('R1_9_4', (-0.415,16.265), layer=67, texttype=5))
sky130_fd_pr__res_xhigh_.add(gdstk.Label('R2_9_4', (-0.415,10.455), layer=67, texttype=5))
sky130_fd_pr__res_xhigh_.add(gdstk.Label('R1_10_0', (0.415,-10.455), layer=67, texttype=5))
sky130_fd_pr__res_xhigh_.add(gdstk.Label('R2_10_0', (0.415,-16.265), layer=67, texttype=5))
sky130_fd_pr__res_xhigh_.add(gdstk.Label('R1_10_1', (0.415,-3.775), layer=67, texttype=5))
sky130_fd_pr__res_xhigh_.add(gdstk.Label('R2_10_1', (0.415,-9.585), layer=67, texttype=5))
sky130_fd_pr__res_xhigh_.add(gdstk.Label('R1_10_2', (0.415,2.905), layer=67, texttype=5))
sky130_fd_pr__res_xhigh_.add(gdstk.Label('R2_10_2', (0.415,-2.905), layer=67, texttype=5))
sky130_fd_pr__res_xhigh_.add(gdstk.Label('R1_10_3', (0.415,9.585), layer=67, texttype=5))
sky130_fd_pr__res_xhigh_.add(gdstk.Label('R2_10_3', (0.415,3.775), layer=67, texttype=5))
sky130_fd_pr__res_xhigh_.add(gdstk.Label('R1_10_4', (0.415,16.265), layer=67, texttype=5))
sky130_fd_pr__res_xhigh_.add(gdstk.Label('R2_10_4', (0.415,10.455), layer=67, texttype=5))
sky130_fd_pr__res_xhigh_.add(gdstk.Label('R1_11_0', (1.245,-10.455), layer=67, texttype=5))
sky130_fd_pr__res_xhigh_.add(gdstk.Label('R2_11_0', (1.245,-16.265), layer=67, texttype=5))
sky130_fd_pr__res_xhigh_.add(gdstk.Label('R1_11_1', (1.245,-3.775), layer=67, texttype=5))
sky130_fd_pr__res_xhigh_.add(gdstk.Label('R2_11_1', (1.245,-9.585), layer=67, texttype=5))
sky130_fd_pr__res_xhigh_.add(gdstk.Label('R1_11_2', (1.245,2.905), layer=67, texttype=5))
sky130_fd_pr__res_xhigh_.add(gdstk.Label('R2_11_2', (1.245,-2.905), layer=67, texttype=5))
sky130_fd_pr__res_xhigh_.add(gdstk.Label('R1_11_3', (1.245,9.585), layer=67, texttype=5))
sky130_fd_pr__res_xhigh_.add(gdstk.Label('R2_11_3', (1.245,3.775), layer=67, texttype=5))
sky130_fd_pr__res_xhigh_.add(gdstk.Label('R1_11_4', (1.245,16.265), layer=67, texttype=5))
sky130_fd_pr__res_xhigh_.add(gdstk.Label('R2_11_4', (1.245,10.455), layer=67, texttype=5))
sky130_fd_pr__res_xhigh_.add(gdstk.Label('R1_12_0', (2.075,-10.455), layer=67, texttype=5))
sky130_fd_pr__res_xhigh_.add(gdstk.Label('R2_12_0', (2.075,-16.265), layer=67, texttype=5))
sky130_fd_pr__res_xhigh_.add(gdstk.Label('R1_12_1', (2.075,-3.775), layer=67, texttype=5))
sky130_fd_pr__res_xhigh_.add(gdstk.Label('R2_12_1', (2.075,-9.585), layer=67, texttype=5))
sky130_fd_pr__res_xhigh_.add(gdstk.Label('R1_12_2', (2.075,2.905), layer=67, texttype=5))
sky130_fd_pr__res_xhigh_.add(gdstk.Label('R2_12_2', (2.075,-2.905), layer=67, texttype=5))
sky130_fd_pr__res_xhigh_.add(gdstk.Label('R1_12_3', (2.075,9.585), layer=67, texttype=5))
sky130_fd_pr__res_xhigh_.add(gdstk.Label('R2_12_3', (2.075,3.775), layer=67, texttype=5))
sky130_fd_pr__res_xhigh_.add(gdstk.Label('R1_12_4', (2.075,16.265), layer=67, texttype=5))
sky130_fd_pr__res_xhigh_.add(gdstk.Label('R2_12_4', (2.075,10.455), layer=67, texttype=5))
sky130_fd_pr__res_xhigh_.add(gdstk.Label('R1_13_0', (2.905,-10.455), layer=67, texttype=5))
sky130_fd_pr__res_xhigh_.add(gdstk.Label('R2_13_0', (2.905,-16.265), layer=67, texttype=5))
sky130_fd_pr__res_xhigh_.add(gdstk.Label('R1_13_1', (2.905,-3.775), layer=67, texttype=5))
sky130_fd_pr__res_xhigh_.add(gdstk.Label('R2_13_1', (2.905,-9.585), layer=67, texttype=5))
sky130_fd_pr__res_xhigh_.add(gdstk.Label('R1_13_2', (2.905,2.905), layer=67, texttype=5))
sky130_fd_pr__res_xhigh_.add(gdstk.Label('R2_13_2', (2.905,-2.905), layer=67, texttype=5))
sky130_fd_pr__res_xhigh_.add(gdstk.Label('R1_13_3', (2.905,9.585), layer=67, texttype=5))
sky130_fd_pr__res_xhigh_.add(gdstk.Label('R2_13_3', (2.905,3.775), layer=67, texttype=5))
sky130_fd_pr__res_xhigh_.add(gdstk.Label('R1_13_4', (2.905,16.265), layer=67, texttype=5))
sky130_fd_pr__res_xhigh_.add(gdstk.Label('R2_13_4', (2.905,10.455), layer=67, texttype=5))
sky130_fd_pr__res_xhigh_.add(gdstk.Label('R1_14_0', (3.735,-10.455), layer=67, texttype=5))
sky130_fd_pr__res_xhigh_.add(gdstk.Label('R2_14_0', (3.735,-16.265), layer=67, texttype=5))
sky130_fd_pr__res_xhigh_.add(gdstk.Label('R1_14_1', (3.735,-3.775), layer=67, texttype=5))
sky130_fd_pr__res_xhigh_.add(gdstk.Label('R2_14_1', (3.735,-9.585), layer=67, texttype=5))
sky130_fd_pr__res_xhigh_.add(gdstk.Label('R1_14_2', (3.735,2.905), layer=67, texttype=5))
sky130_fd_pr__res_xhigh_.add(gdstk.Label('R2_14_2', (3.735,-2.905), layer=67, texttype=5))
sky130_fd_pr__res_xhigh_.add(gdstk.Label('R1_14_3', (3.735,9.585), layer=67, texttype=5))
sky130_fd_pr__res_xhigh_.add(gdstk.Label('R2_14_3', (3.735,3.775), layer=67, texttype=5))
sky130_fd_pr__res_xhigh_.add(gdstk.Label('R1_14_4', (3.735,16.265), layer=67, texttype=5))
sky130_fd_pr__res_xhigh_.add(gdstk.Label('R2_14_4', (3.735,10.455), layer=67, texttype=5))
sky130_fd_pr__res_xhigh_.add(gdstk.Label('R1_15_0', (4.565,-10.455), layer=67, texttype=5))
sky130_fd_pr__res_xhigh_.add(gdstk.Label('R2_15_0', (4.565,-16.265), layer=67, texttype=5))
sky130_fd_pr__res_xhigh_.add(gdstk.Label('R1_15_1', (4.565,-3.775), layer=67, texttype=5))
sky130_fd_pr__res_xhigh_.add(gdstk.Label('R2_15_1', (4.565,-9.585), layer=67, texttype=5))
sky130_fd_pr__res_xhigh_.add(gdstk.Label('R1_15_2', (4.565,2.905), layer=67, texttype=5))
sky130_fd_pr__res_xhigh_.add(gdstk.Label('R2_15_2', (4.565,-2.905), layer=67, texttype=5))
sky130_fd_pr__res_xhigh_.add(gdstk.Label('R1_15_3', (4.565,9.585), layer=67, texttype=5))
sky130_fd_pr__res_xhigh_.add(gdstk.Label('R2_15_3', (4.565,3.775), layer=67, texttype=5))
sky130_fd_pr__res_xhigh_.add(gdstk.Label('R1_15_4', (4.565,16.265), layer=67, texttype=5))
sky130_fd_pr__res_xhigh_.add(gdstk.Label('R2_15_4', (4.565,10.455), layer=67, texttype=5))
sky130_fd_pr__res_xhigh_.add(gdstk.Label('R1_16_0', (5.395,-10.455), layer=67, texttype=5))
sky130_fd_pr__res_xhigh_.add(gdstk.Label('R2_16_0', (5.395,-16.265), layer=67, texttype=5))
sky130_fd_pr__res_xhigh_.add(gdstk.Label('R1_16_1', (5.395,-3.775), layer=67, texttype=5))
sky130_fd_pr__res_xhigh_.add(gdstk.Label('R2_16_1', (5.395,-9.585), layer=67, texttype=5))
sky130_fd_pr__res_xhigh_.add(gdstk.Label('R1_16_2', (5.395,2.905), layer=67, texttype=5))
sky130_fd_pr__res_xhigh_.add(gdstk.Label('R2_16_2', (5.395,-2.905), layer=67, texttype=5))
sky130_fd_pr__res_xhigh_.add(gdstk.Label('R1_16_3', (5.395,9.585), layer=67, texttype=5))
sky130_fd_pr__res_xhigh_.add(gdstk.Label('R2_16_3', (5.395,3.775), layer=67, texttype=5))
sky130_fd_pr__res_xhigh_.add(gdstk.Label('R1_16_4', (5.395,16.265), layer=67, texttype=5))
sky130_fd_pr__res_xhigh_.add(gdstk.Label('R2_16_4', (5.395,10.455), layer=67, texttype=5))
sky130_fd_pr__res_xhigh_.add(gdstk.Label('R1_17_0', (6.225,-10.455), layer=67, texttype=5))
sky130_fd_pr__res_xhigh_.add(gdstk.Label('R2_17_0', (6.225,-16.265), layer=67, texttype=5))
sky130_fd_pr__res_xhigh_.add(gdstk.Label('R1_17_1', (6.225,-3.775), layer=67, texttype=5))
sky130_fd_pr__res_xhigh_.add(gdstk.Label('R2_17_1', (6.225,-9.585), layer=67, texttype=5))
sky130_fd_pr__res_xhigh_.add(gdstk.Label('R1_17_2', (6.225,2.905), layer=67, texttype=5))
sky130_fd_pr__res_xhigh_.add(gdstk.Label('R2_17_2', (6.225,-2.905), layer=67, texttype=5))
sky130_fd_pr__res_xhigh_.add(gdstk.Label('R1_17_3', (6.225,9.585), layer=67, texttype=5))
sky130_fd_pr__res_xhigh_.add(gdstk.Label('R2_17_3', (6.225,3.775), layer=67, texttype=5))
sky130_fd_pr__res_xhigh_.add(gdstk.Label('R1_17_4', (6.225,16.265), layer=67, texttype=5))
sky130_fd_pr__res_xhigh_.add(gdstk.Label('R2_17_4', (6.225,10.455), layer=67, texttype=5))
sky130_fd_pr__res_xhigh_.add(gdstk.Label('R1_18_0', (7.055,-10.455), layer=67, texttype=5))
sky130_fd_pr__res_xhigh_.add(gdstk.Label('R2_18_0', (7.055,-16.265), layer=67, texttype=5))
sky130_fd_pr__res_xhigh_.add(gdstk.Label('R1_18_1', (7.055,-3.775), layer=67, texttype=5))
sky130_fd_pr__res_xhigh_.add(gdstk.Label('R2_18_1', (7.055,-9.585), layer=67, texttype=5))
sky130_fd_pr__res_xhigh_.add(gdstk.Label('R1_18_2', (7.055,2.905), layer=67, texttype=5))
sky130_fd_pr__res_xhigh_.add(gdstk.Label('R2_18_2', (7.055,-2.905), layer=67, texttype=5))
sky130_fd_pr__res_xhigh_.add(gdstk.Label('R1_18_3', (7.055,9.585), layer=67, texttype=5))
sky130_fd_pr__res_xhigh_.add(gdstk.Label('R2_18_3', (7.055,3.775), layer=67, texttype=5))
sky130_fd_pr__res_xhigh_.add(gdstk.Label('R1_18_4', (7.055,16.265), layer=67, texttype=5))
sky130_fd_pr__res_xhigh_.add(gdstk.Label('R2_18_4', (7.055,10.455), layer=67, texttype=5))
sky130_fd_pr__res_xhigh_.add(gdstk.Label('R1_19_0', (7.885,-10.455), layer=67, texttype=5))
sky130_fd_pr__res_xhigh_.add(gdstk.Label('R2_19_0', (7.885,-16.265), layer=67, texttype=5))
sky130_fd_pr__res_xhigh_.add(gdstk.Label('R1_19_1', (7.885,-3.775), layer=67, texttype=5))
sky130_fd_pr__res_xhigh_.add(gdstk.Label('R2_19_1', (7.885,-9.585), layer=67, texttype=5))
sky130_fd_pr__res_xhigh_.add(gdstk.Label('R1_19_2', (7.885,2.905), layer=67, texttype=5))
sky130_fd_pr__res_xhigh_.add(gdstk.Label('R2_19_2', (7.885,-2.905), layer=67, texttype=5))
sky130_fd_pr__res_xhigh_.add(gdstk.Label('R1_19_3', (7.885,9.585), layer=67, texttype=5))
sky130_fd_pr__res_xhigh_.add(gdstk.Label('R2_19_3', (7.885,3.775), layer=67, texttype=5))
sky130_fd_pr__res_xhigh_.add(gdstk.Label('R1_19_4', (7.885,16.265), layer=67, texttype=5))
sky130_fd_pr__res_xhigh_.add(gdstk.Label('R2_19_4', (7.885,10.455), layer=67, texttype=5))

res1_2meg = lib.new_cell('res1_2meg')
R(res1_2meg, li1, [(17.16,31.285,17.335,33.45), (-0.085,33.615,0.085,34.095)])
A(res1_2meg, mcon, 17.16, 31.38, 0.17, 0.17, 1, 6, 0, 0.36)
A(res1_2meg, met1, 0.565, 0.565, 1.18, 2.16, 10, 1, 1.66, 0)
A(res1_2meg, met1, 0.57, 4.565, 0.35, 4.84, 20, 2, 0.83, 13.36)
A(res1_2meg, met1, 0.555, 11.24, 0.35, 4.84, 20, 1, 0.83, 0)
A(res1_2meg, met1, 0.565, 24.605, 0.35, 4.84, 20, 1, 0.83, 0)
A(res1_2meg, met1, 1.395, 31.285, 1.18, 2.16, 9, 1, 1.66, 0)
R(res1_2meg, met1, [(17.13,31.225,17.365,31.285), (0.565,31.285,0.915,33.445), (16.33,31.285,17.365,33.45), (17.13,33.45,17.365,33.51)])
res1_2meg.add(gdstk.Reference(sky130_fd_pr__res_xhigh_, (8.625,17.005)))
res1_2meg.add(gdstk.Label('RT', (0.69,32.45), layer=68, texttype=5))
res1_2meg.add(gdstk.Label('VSS', (16.895,32.36), layer=68, texttype=5))

lib.write_gds('res1_2meg.gds')
